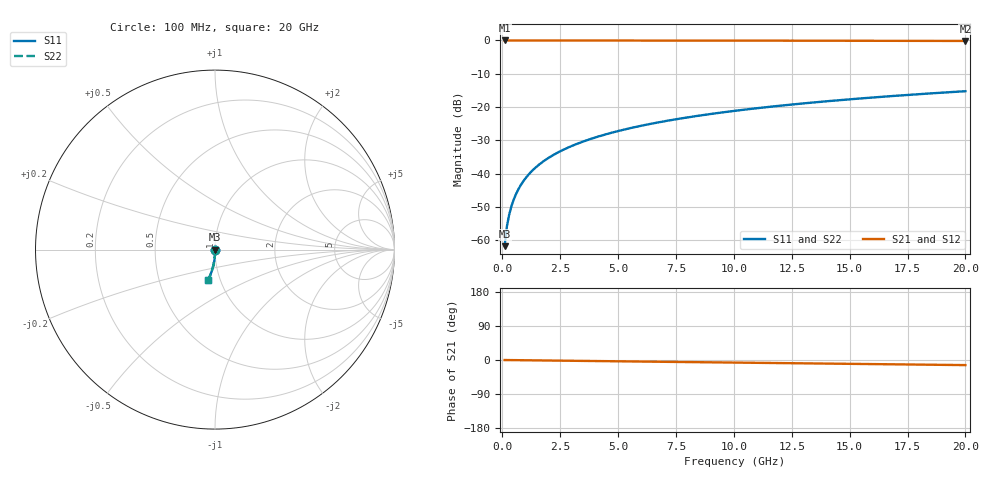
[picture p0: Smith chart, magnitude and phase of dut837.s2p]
! Touchstone file exported from HFSS 2026.1.0
!  File:  C:/ffzhzh/LocalFiles/Ansys_Project_Files/temp_train_TSV_837_1783184843_51560.aedt
!  Generated:  01:08:35 AM Jul  5, 2026
!  Design:  TSV
!  Project:  temp_train_TSV_837_1783184843_51560
! Variables:
!  h_bsmrdl = 2um
!  h_ox = 20um
!  h_rdl = 5um
!  h_sub = 99.58um
!  h_tmrdl = 5um
!  h_tsv = 99.58um
!  h_via = 3um
!  l_bsmrdl = 300um
!  l_sub = 424.24um
!  l_tmrdl = 200um
!  m_sub = 200um
!  pitch = 27.34um
!  r_tsv = 12.12um
!  s_tmrdl = 10um
!  w_bsmrdl = 18um
!  w_sub = 500um
!  w_tmrdl = 12um
!  x_tsv_center1 = 206um
!  x_tsv_center2 = 524um
!  x_tsv_center3 = 736um
!  x_tsv_center4 = 1054um
!  x_tsv_center5 = 1266um
!  x_tsv_center6 = 1584um
# GHz S MA R 50.000000
! Terminal data exported
! Port[1] = TSV1_1_T1
! Port[2] = TSV1_1_T2
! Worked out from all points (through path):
!   200 points, 100 MHz to 20 GHz, reference 50 ohm
!   highest |S21| = 0.00 dB at 100 MHz (marker M1); lowest = -0.2 dB at 20 GHz (marker M2)
!   group delay of S21, straight-line fit = 1.87 ps
!   lowest |S11| = -61.8 dB at 100 MHz (marker M3), VSWR 1.00, Z = 50 - j0.0797 ohm
!   |S11| at or under -10 dB: start of sweep to end of sweep
!   |S22| runs from -61.8 to -15.3 dB; largest |S21 - S12| = 5.3e-15
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0.1  0.0008088 -80.2  0.9999 -0.1  0.9999 -0.1  0.0008088 -80.2
! Gamma 0 0 0 0
! Port Impedance 50 0 50 0
0.2  0.001611 -84.1  0.9998 -0.1  0.9998 -0.1  0.001611 -84.1
0.3  0.002431 -85.3  0.9998 -0.2  0.9998 -0.2  0.002431 -85.3
0.4  0.003268 -85.8  0.9997 -0.3  0.9997 -0.3  0.003268 -85.8
0.5  0.004117 -86.1  0.9997 -0.4  0.9997 -0.4  0.004117 -86.1
0.7  0.005842 -86.7  0.9996 -0.5  0.9996 -0.5  0.005842 -86.7
0.8  0.006712 -87.0  0.9996 -0.6  0.9996 -0.6  0.006712 -87.0
1  0.008459 -87.5  0.9995 -0.7  0.9995 -0.7  0.008459 -87.5
1.2  0.01021 -87.9  0.9994 -0.8  0.9994 -0.8  0.01021 -87.9
1.4  0.01196 -88.3  0.9994 -1.0  0.9994 -1.0  0.01196 -88.3
1.7  0.01458 -88.8  0.9993 -1.2  0.9993 -1.2  0.01458 -88.8
2  0.0172 -89.2  0.9992 -1.4  0.9992 -1.4  0.0172 -89.2
2.7  0.02332 -90.1  0.999 -1.9  0.999 -1.9  0.02332 -90.1
3.5  0.03032 -90.8  0.9987 -2.4  0.9987 -2.4  0.03032 -90.8
4.2  0.03644 -91.4  0.9984 -2.9  0.9984 -2.9  0.03644 -91.4
5  0.04345 -92.1  0.998 -3.4  0.998 -3.4  0.04345 -92.1
6.8  0.05923 -93.5  0.997 -4.6  0.997 -4.6  0.05923 -93.5
8.3  0.07235 -94.6  0.996 -5.7  0.996 -5.7  0.07235 -94.6
10.1  0.08805 -95.9  0.9946 -6.9  0.9946 -6.9  0.08805 -95.9
13.4  0.1166 -98.2  0.9914 -9.1  0.9914 -9.1  0.1166 -98.2
16.7  0.1448 -100.5  0.9875 -11.3  0.9875 -11.3  0.1448 -100.5
20  0.1727 -102.8  0.9828 -13.5  0.9828 -13.5  0.1727 -102.8
